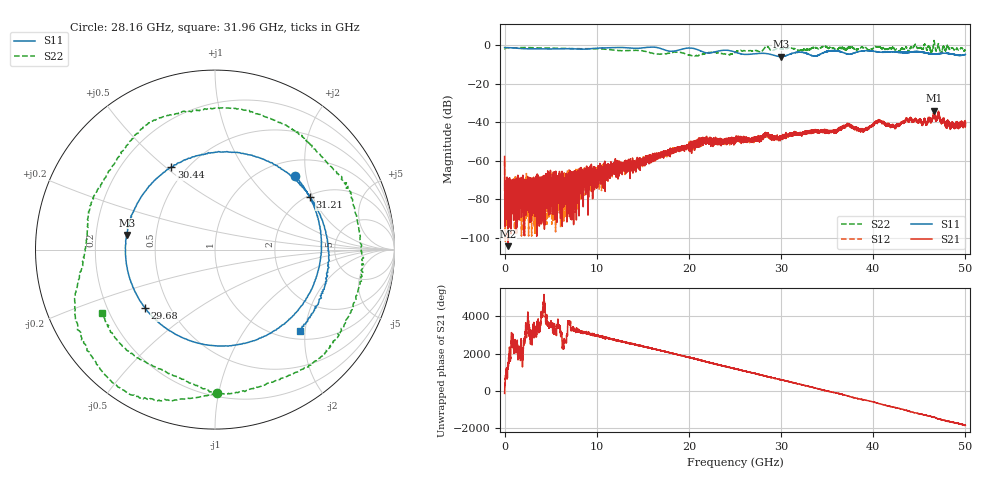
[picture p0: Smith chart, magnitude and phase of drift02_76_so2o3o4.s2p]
!Created with skrf (http://scikit-rf.org).
# Hz S RI R 50.0
!freq ReS11 ImS11 ReS21 ImS21 ReS12 ImS12 ReS22 ImS22
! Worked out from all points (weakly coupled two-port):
!   10001 points, 300 kHz to 50 GHz, reference 50 ohm
!   highest |S21| = -34.05 dB at 46.58 GHz (marker M1); lowest = -104.3 dB at 380.3 MHz (marker M2)
!   lowest |S11| = -6.1 dB at 30.04 GHz (marker M3), VSWR 2.98, Z = 16.9 + j3.67 ohm
!   |S11| at or under -10 dB: nowhere
!   |S22| runs from -5.7 to 2.4 dB; largest |S21 - S12| = 0.0031
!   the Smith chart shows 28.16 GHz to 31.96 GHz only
!   S11 on the Smith chart (normalised r, x): 28.16 GHz: 1.33, +1.72; 29.68 GHz: 0.36, -0.32; 30.44 GHz: 0.42, +0.52; 31.21 GHz: 2.05, +1.90; 31.96 GHz: 1.19, -1.87
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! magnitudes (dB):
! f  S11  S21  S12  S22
! 300 kHz  -1.3  -57.8  -60.2  -2.1
! 255.3 MHz  -1.4  -83.3  -74.9  -1.4
! 380.3 MHz  -1.4  -104.3  -75.4  -1.4
! 5.035 GHz  -2.1  -71.4  -79.3  -1.6
! 8.335 GHz  -2.2  -71.5  -71.0  -1.9
! 16.67 GHz  -1.5  -56.4  -57.8  -4.7
! 21.55 GHz  -3.6  -48.5  -49.4  -4.7
! 25 GHz  -3.7  -51.1  -48.9  -3.9
! 28.16 GHz  -4.3  -47.5  -47.4  -1.9
! 29.68 GHz  -5.9  -48.1  -48.7  -2.1
! 30.04 GHz  -6.1  -47.7  -48.1  -2.0
! 30.44 GHz  -5.7  -46.8  -47.2  -1.7
! 31.21 GHz  -4.4  -46.0  -46.1  -1.7
! 31.96 GHz  -3.7  -45.6  -45.6  -2.8
! 33.34 GHz  -5.5  -44.9  -44.6  -1.6
! 37.28 GHz  -4.7  -41.3  -41.4  -1.3
! 38.87 GHz  -3.0  -43.7  -43.9  -1.4
! 40.57 GHz  -3.6  -39.2  -39.3  -1.0
! 41.67 GHz  -3.6  -41.3  -41.2  -1.9
! 46.58 GHz  -4.7  -34.0  -35.0  1.4
! 48.14 GHz  -4.4  -40.0  -39.7  -0.8
! 50 GHz  -4.9  -40.5  -40.4  -2.7
